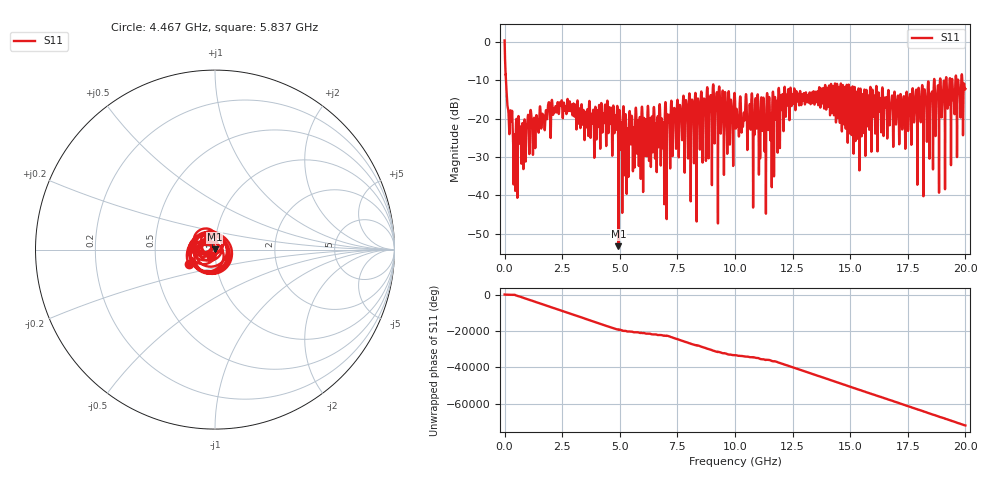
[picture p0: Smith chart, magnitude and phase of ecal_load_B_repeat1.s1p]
! MS46122B
! 2250307/22442219
! 7/22/2025 3:22:57 PM
! C:\USERS\SPARKY\DOCUMENTS\VNA_DATA\JULY22_2025\295\ECAL_LOAD_B_REPEAT1.S1P
! CHANNEL.1
! TR.MEASUREMENT
! RAW.DATA
# GHZ S RI R 50.0
! FREQ.GHZ  S11RE  S11IM
!; PortSelection: Port_1
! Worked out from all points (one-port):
!   10001 points, 1 MHz to 20 GHz, reference 50 ohm
!   lowest |S11| = -53.2 dB at 4.941 GHz (marker M1), VSWR 1.00, Z = 49.9 + j0.16 ohm
!   |S11| at or under -10 dB: 59.74 MHz to 18.64 GHz (18.58 GHz wide, 199 % of centre); 18.66 GHz to 18.9 GHz (238 MHz wide, 1.27 % of centre); 18.92 GHz to 19.15 GHz (230.9 MHz wide, 1.21 % of centre) (the widest 3 of 9)
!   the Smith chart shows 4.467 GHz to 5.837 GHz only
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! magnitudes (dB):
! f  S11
! 1 MHz  0.4
! 145 MHz  -17.3
! 469 MHz  -34.2
! 585 MHz  -20.9
! 821 MHz  -32.4
! 1.079 GHz  -27.6
! 1.273 GHz  -20.1
! 2.501 GHz  -16.9
! 4.941 GHz  -53.2
! 5.001 GHz  -18.6
! 5.293 GHz  -33.3
! 5.445 GHz  -19.2
! 6.729 GHz  -16.2
! 6.855 GHz  -27.6
! 7.307 GHz  -23.5
! 7.501 GHz  -15.1
! 9.127 GHz  -21.6
! 9.185 GHz  -14.2
! 10 GHz  -14.9
! 10.86 GHz  -19.8
! 10.92 GHz  -19.6
! 11.11 GHz  -19.4
! 11.46 GHz  -16.2
! 11.61 GHz  -20.2
! 12.5 GHz  -13.9
! 15 GHz  -14.3
! 17.5 GHz  -20.6
! 20 GHz  -12.2
